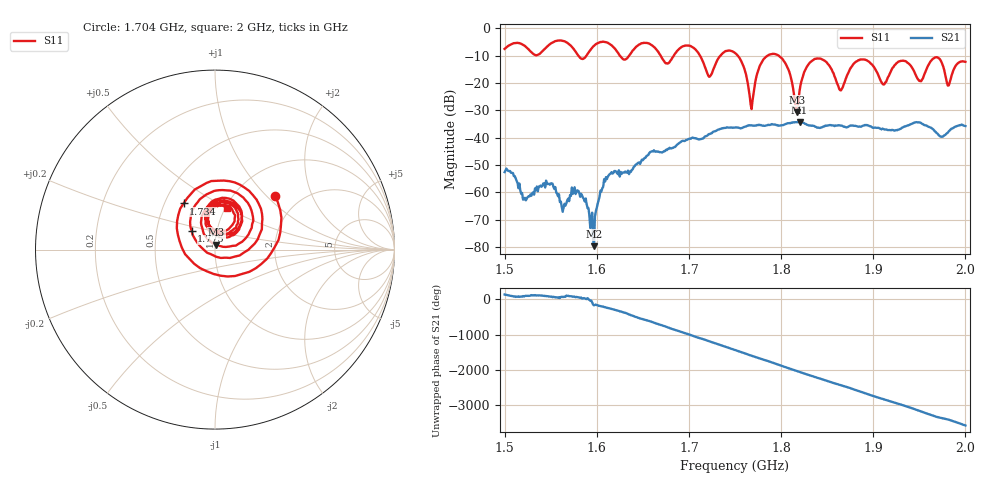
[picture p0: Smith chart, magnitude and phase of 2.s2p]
! NanoVNA-App by SYSJOINT et al v1.1.209 (+OD18)
! Date: 2026-01-21 14:47:32
! Start: 1,5GHz Stop: 2GHz Points: 501
! S-Parameter data: F S11 S21 S12 S22
# Hz S RI R 50
!  Frequency  S11_Real  S11_Imag  S21_Real  S21_Imag  S12_Real  S12_Imag  S22_Real  S22_Imag
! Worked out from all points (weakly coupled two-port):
!   501 points, 1.5 GHz to 2 GHz, reference 50 ohm
!   highest |S21| = -34.21 dB at 1.82 GHz (marker M1); lowest = -79.6 dB at 1.597 GHz (marker M2)
!   lowest |S11| = -30.8 dB at 1.817 GHz (marker M3), VSWR 1.06, Z = 50.6 + j2.86 ohm
!   |S11| at or under -10 dB: 1.712 GHz to 1.734 GHz (22.49 MHz wide, 1.31 % of centre); 1.753 GHz to 1.786 GHz (32.79 MHz wide, 1.85 % of centre); 1.797 GHz to end of sweep (the widest 3 of 6)
!   S12 and S22 are empty: the file has one direction only
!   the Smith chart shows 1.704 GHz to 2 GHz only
!   S11 on the Smith chart (normalised r, x): 1.704 GHz: 1.51, +1.13; 1.734 GHz: 0.62, +0.36; 1.775 GHz: 0.76, +0.16; 2 GHz: 1.02, +0.50
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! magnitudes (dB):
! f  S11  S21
! 1.5 GHz  -7.6  -52.5
! 1.522 GHz  -6.5  -61.9
! 1.584 GHz  -11.2  -61.1
! 1.597 GHz  -6.5  -79.6
! 1.614 GHz  -5.8  -53.3
! 1.667 GHz  -8.8  -45.1
! 1.704 GHz  -6.9  -40.0
! 1.722 GHz  -17.8  -38.7
! 1.734 GHz  -10.1  -36.8
! 1.75 GHz  -9.1  -36.3
! 1.768 GHz  -29.6  -35.5
! 1.775 GHz  -15.6  -35.4
! 1.799 GHz  -10.5  -35.6
! 1.817 GHz  -30.8  -34.3
! 1.82 GHz  -23.0  -34.2
! 1.834 GHz  -11.8  -35.6
! 1.865 GHz  -22.7  -35.6
! 1.885 GHz  -11.7  -35.9
! 1.917 GHz  -17.4  -37.2
! 1.969 GHz  -10.6  -38.4
! 1.982 GHz  -20.9  -37.7
! 2 GHz  -12.3  -35.7
